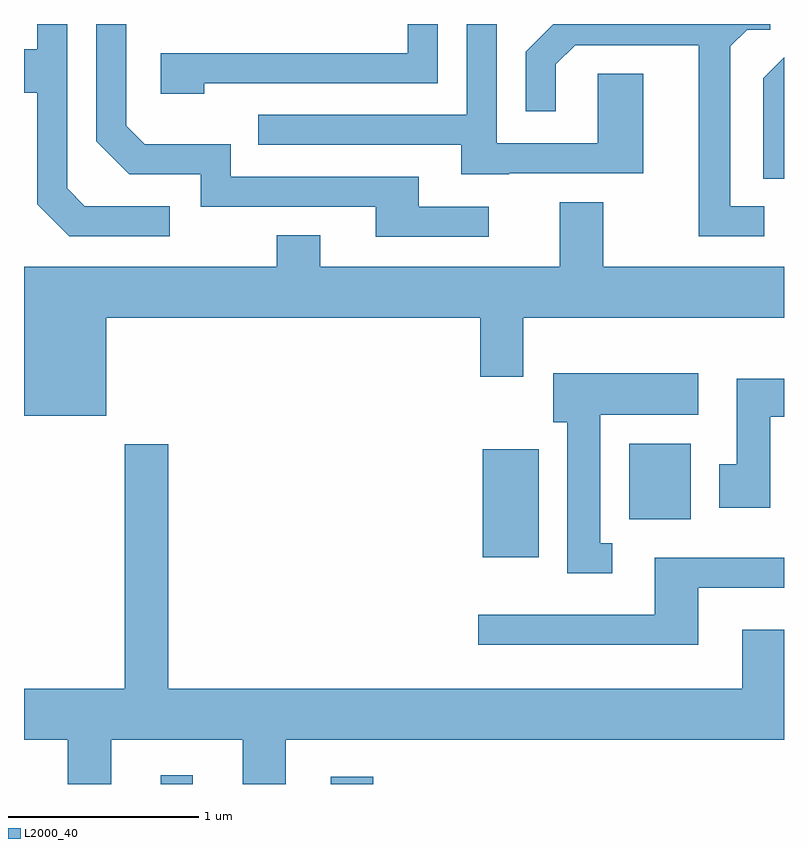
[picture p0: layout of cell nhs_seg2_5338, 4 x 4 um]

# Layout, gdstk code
import gdstk
lib = gdstk.Library(unit=1e-6, precision=1e-09)
def R(c, l, rs):  # rectangles x0, y0, x1, y1
    for r in rs: c.add(gdstk.rectangle(r[:2], r[2:], *l))
def P(c, l, *ps):  # polygons
    for p in ps: c.add(gdstk.Polygon(p, *l))
L2000_40 = (2000, 40)

nhs_seg2_5338 = lib.new_cell('nhs_seg2_5338')
R(nhs_seg2_5338, L2000_40, [(342.331,1105.802,342.499,1105.848), (343.226,1105.802,343.449,1105.839), (344.026,1106.996,344.319,1107.564), (344.796,1107.196,345.119,1107.594)])
P(nhs_seg2_5338, L2000_40, [(342.378,1108.844),(341.932,1108.844),(341.839,1108.937),(341.839,1109.802),(341.681,1109.802),(341.681,1109.669),(341.611,1109.669),(341.611,1109.441),(341.681,1109.441),(341.681,1108.854),(341.849,1108.686),(342.378,1108.686)],
  [(344.165,1109.016),(344.869,1109.016),(344.869,1109.539),(344.631,1109.539),(344.631,1109.174),(344.099,1109.174),(344.099,1109.802),(343.941,1109.802),(343.941,1109.324),(342.843,1109.324),(342.843,1109.166),(343.911,1109.166),(343.911,1109.011),(344.165,1109.011)],
  [(342.559,1109.491),(343.789,1109.491),(343.789,1109.802),(343.631,1109.802),(343.631,1109.649),(342.331,1109.649),(342.331,1109.436),(342.559,1109.436)],
  [(345.508,1108.844),(345.329,1108.844),(345.329,1109.684),(345.417,1109.771),(345.538,1109.771),(345.538,1109.802),(344.397,1109.802),(344.251,1109.657),(344.251,1109.343),(344.409,1109.343),(344.409,1109.589),(344.512,1109.691),(345.161,1109.691),(345.161,1108.686),(345.508,1108.686)],
  [(344.058,1108.839),(343.689,1108.839),(343.689,1108.999),(342.699,1108.999),(342.699,1109.169),(342.247,1109.169),(342.149,1109.267),(342.149,1109.802),(341.991,1109.802),(341.991,1109.184),(342.164,1109.011),(342.541,1109.011),(342.541,1108.841),(343.461,1108.841),(343.461,1108.681),(344.058,1108.681)],
  [(345.611,1109.627),(345.501,1109.517),(345.501,1108.988),(345.611,1108.988)],
  [(342.044,1108.256),(344.011,1108.256),(344.011,1107.946),(344.239,1107.946),(344.239,1108.256),(345.611,1108.256),(345.611,1108.524),(344.659,1108.524),(344.659,1108.864),(344.431,1108.864),(344.431,1108.524),(343.169,1108.524),(343.169,1108.689),(342.941,1108.689),(342.941,1108.524),(341.611,1108.524),(341.611,1107.741),(342.044,1107.741)],
  [(344.708,1107.069),(344.644,1107.069),(344.644,1107.746),(345.159,1107.746),(345.159,1107.964),(344.396,1107.964),(344.396,1107.706),(344.471,1107.706),(344.471,1106.911),(344.708,1106.911)],
  [(345.539,1107.736),(345.611,1107.736),(345.611,1107.934),(345.361,1107.934),(345.361,1107.484),(345.271,1107.484),(345.271,1107.256),(345.539,1107.256)],
  [(342.069,1106.036),(342.761,1106.036),(342.761,1105.802),(342.989,1105.802),(342.989,1106.036),(345.611,1106.036),(345.611,1106.614),(345.391,1106.614),(345.391,1106.304),(342.369,1106.304),(342.369,1107.589),(342.141,1107.589),(342.141,1106.304),(341.611,1106.304),(341.611,1106.036),(341.841,1106.036),(341.841,1105.802),(342.069,1105.802)],
  [(345.159,1106.836),(345.611,1106.836),(345.611,1106.994),(344.931,1106.994),(344.931,1106.694),(344.003,1106.694),(344.003,1106.536),(345.159,1106.536)])

lib.write_gds('nhs_seg2_5338.gds')
